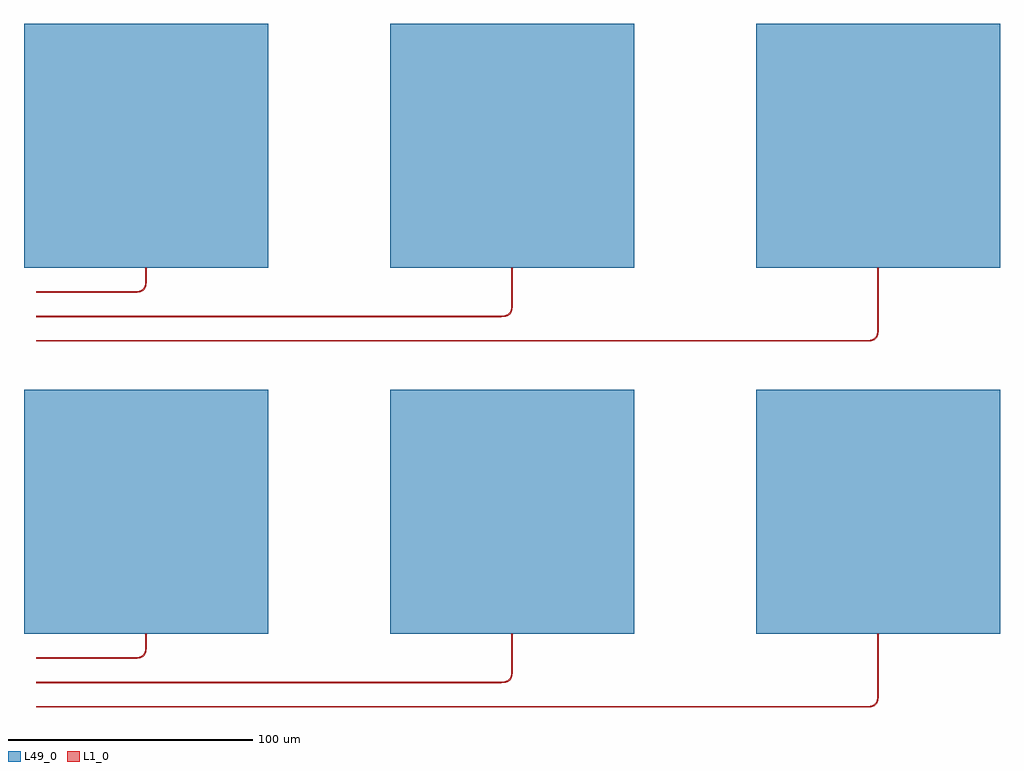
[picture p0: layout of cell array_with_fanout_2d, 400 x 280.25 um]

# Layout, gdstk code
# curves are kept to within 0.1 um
from math import pi, radians
import gdstk
lib = gdstk.Library(unit=1e-6, precision=1e-09)
def R(c, l, rs):  # rectangles x0, y0, x1, y1
    for r in rs: c.add(gdstk.rectangle(r[:2], r[2:], *l))
def P(c, l, *ps):  # polygons
    for p in ps: c.add(gdstk.Polygon(p, *l))
L1_0 = (1, 0)
L49_0 = (49, 0)

rectangle_layer49_0_size = lib.new_cell('rectangle_layer49_0_size100_100')
R(rectangle_layer49_0_size, L49_0, [(0,0,100,100)])

compass_layer49_0_size10 = lib.new_cell('compass_layer49_0_size100_100')
compass_layer49_0_size10.add(gdstk.Reference(rectangle_layer49_0_size, (-50,-50)))

pad = lib.new_cell('pad')
pad.add(gdstk.Reference(compass_layer49_0_size10, (0,0)))

straight_cross_sectionc_ = lib.new_cell('straight_cross_sectionc_07890f9a')
R(straight_cross_sectionc_, L1_0, [(0,-0.25,5,0.25)])

bend_euler_cross_sectio_ = lib.new_cell('bend_euler_cross_sectio_42ae4dc0')
P(bend_euler_cross_sectio_, L1_0, [(0,-0.25),(1.429,-0.208),(2.489,-0.027),(3.392,0.331),(4.107,0.857),(4.669,1.608),(5.027,2.511),(5.208,3.571),(5.25,5),(4.75,5),(4.712,3.638),(4.567,2.728),(4.241,1.867),(3.801,1.259),(3.133,0.759),(2.315,0.444),(1.362,0.288),(0,0.25)])

c_straight_cross_sectionc_ = lib.new_cell('straight_cross_sectionc_50dadeaf')
R(c_straight_cross_sectionc_, L1_0, [(0,-0.25,40,0.25)])

c_straight_cross_sectionc__ = lib.new_cell('straight_cross_sectionc_ccc8b978')
R(c_straight_cross_sectionc__, L1_0, [(0,-0.25,15,0.25)])

c_straight_cross_sectionc___ = lib.new_cell('straight_cross_sectionc_0adfa845')
R(c_straight_cross_sectionc___, L1_0, [(0,-0.25,190,0.25)])

c_straight_cross_sectionc____ = lib.new_cell('straight_cross_sectionc_07ffc600')
R(c_straight_cross_sectionc____, L1_0, [(0,-0.25,25,0.25)])

c_straight_cross_sectionc_____ = lib.new_cell('straight_cross_sectionc_0cd4a5f3')
R(c_straight_cross_sectionc_____, L1_0, [(0,-0.25,340,0.25)])

array_with_fanout_n3_pit = lib.new_cell('array_with_fanout_n3_pitch150')
array_with_fanout_n3_pit.add(gdstk.Reference(pad, (0,0)))
array_with_fanout_n3_pit.add(gdstk.Reference(straight_cross_sectionc_, (0,-55), rotation=pi/2))
array_with_fanout_n3_pit.add(gdstk.Reference(bend_euler_cross_sectio_, (-5,-60)))
array_with_fanout_n3_pit.add(gdstk.Reference(c_straight_cross_sectionc_, (-45,-60)))
array_with_fanout_n3_pit.add(gdstk.Reference(pad, (150,0)))
array_with_fanout_n3_pit.add(gdstk.Reference(c_straight_cross_sectionc__, (150,-65), rotation=pi/2))
array_with_fanout_n3_pit.add(gdstk.Reference(bend_euler_cross_sectio_, (145,-70)))
array_with_fanout_n3_pit.add(gdstk.Reference(c_straight_cross_sectionc___, (-45,-70)))
array_with_fanout_n3_pit.add(gdstk.Reference(pad, (300,0)))
array_with_fanout_n3_pit.add(gdstk.Reference(c_straight_cross_sectionc____, (300,-75), rotation=pi/2))
array_with_fanout_n3_pit.add(gdstk.Reference(bend_euler_cross_sectio_, (295,-80)))
array_with_fanout_n3_pit.add(gdstk.Reference(c_straight_cross_sectionc_____, (-45,-80)))

array_with_fanout_2d = lib.new_cell('array_with_fanout_2d')
r = gdstk.Reference(array_with_fanout_n3_pit, (0,0)); r.repetition = gdstk.Repetition(6, 2, v1=(0,0), v2=(0,150)); array_with_fanout_2d.add(r)

lib.write_gds('array_with_fanout_2d.gds')
